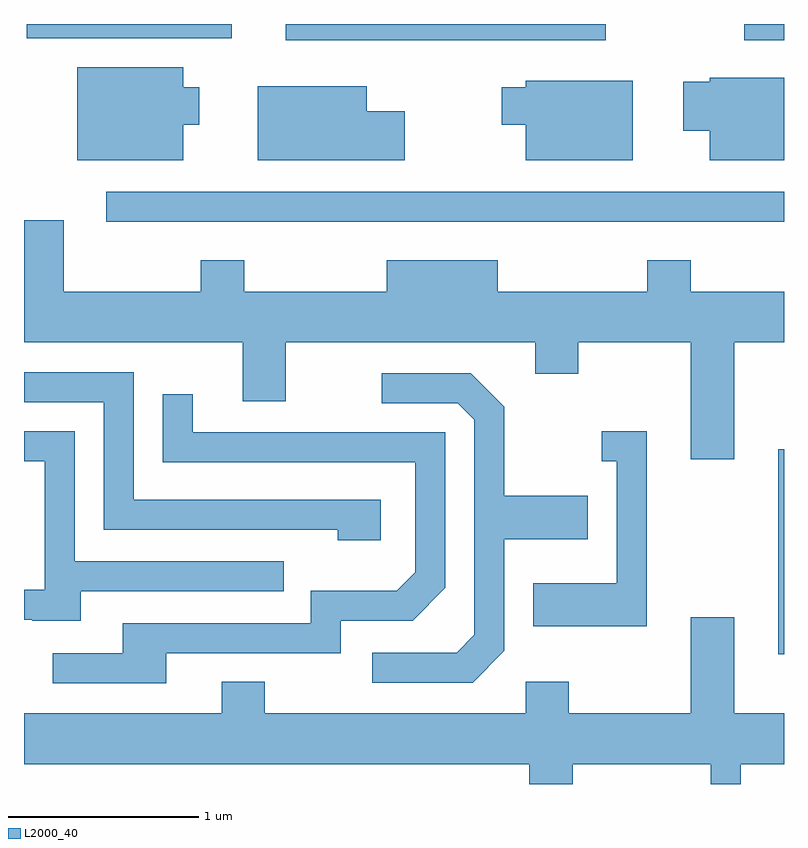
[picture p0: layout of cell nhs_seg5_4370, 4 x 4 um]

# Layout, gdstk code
import gdstk
lib = gdstk.Library(unit=1e-6, precision=1e-09)
def R(c, l, rs):  # rectangles x0, y0, x1, y1
    for r in rs: c.add(gdstk.rectangle(r[:2], r[2:], *l))
def P(c, l, *ps):  # polygons
    for p in ps: c.add(gdstk.Polygon(p, *l))
L2000_40 = (2000, 40)

nhs_seg5_4370 = lib.new_cell('nhs_seg5_4370')
R(nhs_seg5_4370, L2000_40, [(319.581,1410.756,319.611,1411.834), (316.043,1413.031,319.611,1413.189), (316.988,1413.986,318.673,1414.072), (319.403,1413.986,319.611,1414.072), (315.626,1413.996,316.704,1414.072)])
P(nhs_seg5_4370, L2000_40, [(316.449,1413.541),(316.534,1413.541),(316.534,1413.739),(316.449,1413.739),(316.449,1413.844),(315.891,1413.844),(315.891,1413.356),(316.449,1413.356)],
  [(319.611,1413.789),(319.221,1413.789),(319.221,1413.769),(319.081,1413.769),(319.081,1413.511),(319.221,1413.511),(319.221,1413.356),(319.611,1413.356)],
  [(318.814,1413.774),(318.251,1413.774),(318.251,1413.739),(318.126,1413.739),(318.126,1413.541),(318.251,1413.541),(318.251,1413.356),(318.814,1413.356)],
  [(317.614,1413.614),(317.414,1413.614),(317.414,1413.744),(316.841,1413.744),(316.841,1413.356),(317.614,1413.356)],
  [(318.104,1412.829),(317.521,1412.829),(317.521,1412.664),(316.769,1412.664),(316.769,1412.829),(316.541,1412.829),(316.541,1412.664),(315.819,1412.664),(315.819,1413.039),(315.611,1413.039),(315.611,1412.396),(316.761,1412.396),(316.761,1412.086),(316.989,1412.086),(316.989,1412.396),(318.301,1412.396),(318.301,1412.231),(318.529,1412.231),(318.529,1412.396),(319.121,1412.396),(319.121,1411.781),(319.349,1411.781),(319.349,1412.396),(319.611,1412.396),(319.611,1412.664),(319.119,1412.664),(319.119,1412.829),(318.891,1412.829),(318.891,1412.664),(318.104,1412.664)],
  [(317.489,1411.569),(316.189,1411.569),(316.189,1412.239),(315.611,1412.239),(315.611,1412.081),(316.031,1412.081),(316.031,1411.411),(317.261,1411.411),(317.261,1411.356),(317.489,1411.356)],
  [(318.139,1410.774),(318.139,1411.361),(318.579,1411.361),(318.579,1411.589),(318.139,1411.589),(318.139,1412.057),(317.962,1412.234),(317.493,1412.234),(317.493,1412.076),(317.894,1412.076),(317.981,1411.989),(317.981,1410.857),(317.889,1410.764),(317.443,1410.764),(317.443,1410.606),(317.972,1410.606)],
  [(316.359,1410.761),(317.279,1410.761),(317.279,1410.931),(317.657,1410.931),(317.829,1411.104),(317.829,1411.924),(316.499,1411.924),(316.499,1412.123),(316.341,1412.123),(316.341,1411.766),(317.671,1411.766),(317.671,1411.187),(317.574,1411.089),(317.121,1411.089),(317.121,1410.919),(316.131,1410.919),(316.131,1410.759),(315.763,1410.759),(315.763,1410.601),(316.359,1410.601)],
  [(315.909,1411.086),(316.978,1411.086),(316.978,1411.244),(315.879,1411.244),(315.879,1411.929),(315.611,1411.929),(315.611,1411.771),(315.721,1411.771),(315.721,1411.094),(315.611,1411.094),(315.611,1410.936),(315.655,1410.936),(315.655,1410.931),(315.909,1410.931)],
  [(318.889,1411.929),(318.653,1411.929),(318.653,1411.771),(318.731,1411.771),(318.731,1411.129),(318.291,1411.129),(318.291,1410.901),(318.889,1410.901)],
  [(318.479,1410.609),(318.251,1410.609),(318.251,1410.444),(316.879,1410.444),(316.879,1410.609),(316.651,1410.609),(316.651,1410.444),(315.611,1410.444),(315.611,1410.176),(318.271,1410.176),(318.271,1410.072),(318.499,1410.072),(318.499,1410.176),(319.226,1410.176),(319.226,1410.072),(319.384,1410.072),(319.384,1410.176),(319.611,1410.176),(319.611,1410.444),(319.349,1410.444),(319.349,1410.949),(319.121,1410.949),(319.121,1410.444),(318.479,1410.444)])

lib.write_gds('nhs_seg5_4370.gds')
